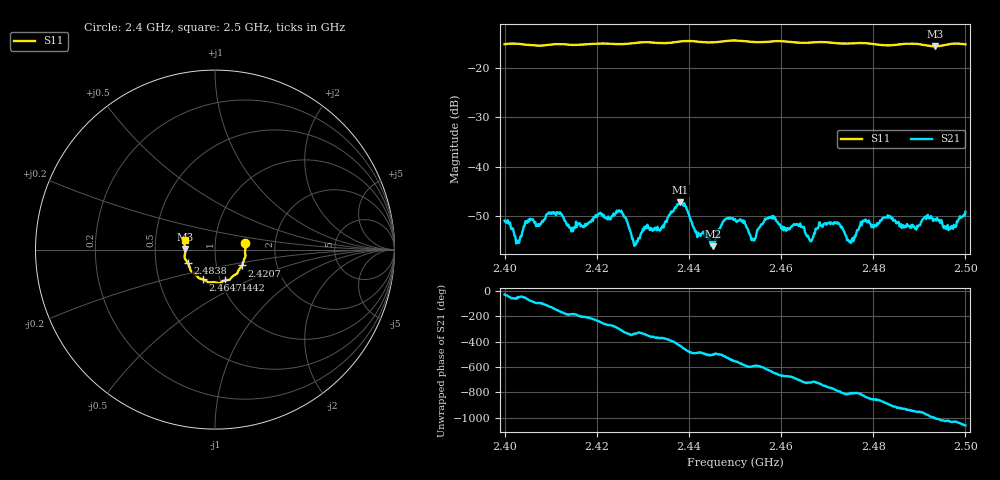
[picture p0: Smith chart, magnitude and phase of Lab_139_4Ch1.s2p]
# Hz S RI R 50
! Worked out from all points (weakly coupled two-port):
!   601 points, 2.4 GHz to 2.5 GHz, reference 50 ohm
!   highest |S21| = -47.26 dB at 2.4382 GHz (marker M1); lowest = -56.1 dB at 2.4453 GHz (marker M2)
!   lowest |S11| = -15.6 dB at 2.4935 GHz (marker M3), VSWR 1.40, Z = 35.8 + j0.145 ohm
!   |S11| at or under -10 dB: start of sweep to end of sweep
!   S12 and S22 are empty: the file has one direction only
!   S11 on the Smith chart (normalised r, x): 2.4 GHz: 1.40, +0.11; 2.4207 GHz: 1.33, -0.24; 2.4442 GHz: 1.05, -0.37; 2.4647 GHz: 0.83, -0.29; 2.4838 GHz: 0.73, -0.11; 2.5 GHz: 0.71, +0.08
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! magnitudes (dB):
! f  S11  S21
! 2.4 GHz  -15.2  -51.0
! 2.4028 GHz  -15.1  -55.5
! 2.4097 GHz  -15.3  -49.3
! 2.4167 GHz  -15.3  -52.0
! 2.4207 GHz  -15.1  -49.6
! 2.4252 GHz  -15.2  -49.2
! 2.4283 GHz  -15.0  -55.7
! 2.4333 GHz  -15.0  -52.8
! 2.4382 GHz  -14.7  -47.3
! 2.4442 GHz  -14.9  -54.8
! 2.4453 GHz  -14.8  -56.1
! 2.45 GHz  -14.5  -50.7
! 2.454 GHz  -14.8  -54.8
! 2.4575 GHz  -14.7  -50.3
! 2.4647 GHz  -14.9  -52.2
! 2.4667 GHz  -14.9  -54.9
! 2.472 GHz  -15.0  -51.5
! 2.4753 GHz  -15.1  -55.0
! 2.4833 GHz  -15.5  -50.3
! 2.4838 GHz  -15.4  -50.3
! 2.4935 GHz  -15.6  -50.7
! 2.5 GHz  -15.2  -49.2
